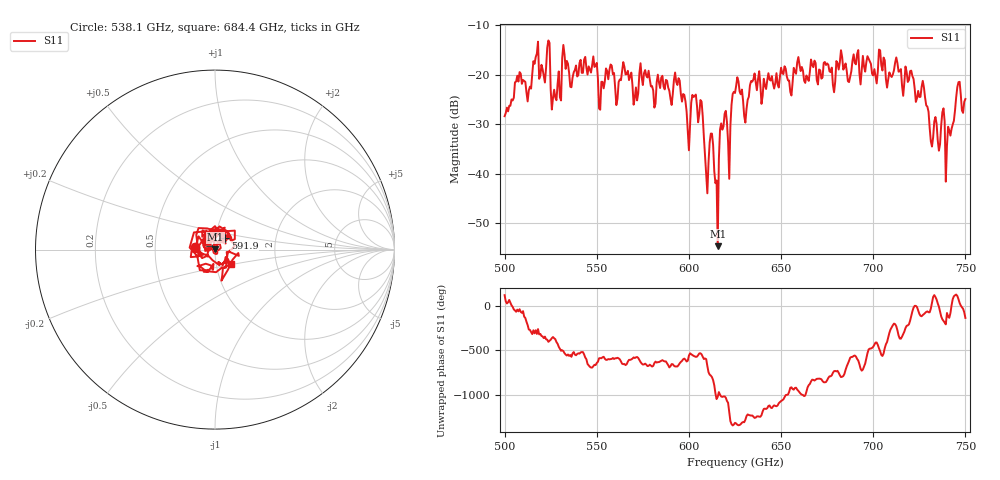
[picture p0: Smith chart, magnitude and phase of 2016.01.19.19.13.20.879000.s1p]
!Created with skrf (http://scikit-rf.org).
# GHz S RI R 50.0
!freq ReS11 ImS11
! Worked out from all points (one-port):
!   401 points, 500 GHz to 750 GHz, reference 50 ohm
!   lowest |S11| = -54.7 dB at 615.6 GHz (marker M1), VSWR 1.00, Z = 50.1 + j0.161 ohm
!   |S11| at or under -10 dB: start of sweep to end of sweep
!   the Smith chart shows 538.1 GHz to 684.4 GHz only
!   S11 on the Smith chart (normalised r, x): 538.1 GHz: 0.80, +0.02; 591.9 GHz: 1.11, +0.15; 684.4 GHz: 1.18, -0.19
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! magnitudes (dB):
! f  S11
! 500 GHz  -28.4
! 507.5 GHz  -21.4
! 513.1 GHz  -23.2
! 516.9 GHz  -16.4
! 523.8 GHz  -13.1
! 526.9 GHz  -23.0
! 531.2 GHz  -16.6
! 538.1 GHz  -19.1
! 562.5 GHz  -21.0
! 591.9 GHz  -21.1
! 593.8 GHz  -22.1
! 599.4 GHz  -31.3
! 606.2 GHz  -25.1
! 609.4 GHz  -40.3
! 611.9 GHz  -31.9
! 615.6 GHz  -54.7
! 618.1 GHz  -31.1
! 621.9 GHz  -41.1
! 625 GHz  -23.7
! 630.6 GHz  -29.7
! 634.4 GHz  -21.4
! 656.2 GHz  -21.6
! 684.4 GHz  -18.5
! 687.5 GHz  -20.4
! 718.8 GHz  -21.5
! 740.6 GHz  -30.5
! 746.2 GHz  -21.5
! 750 GHz  -24.9
